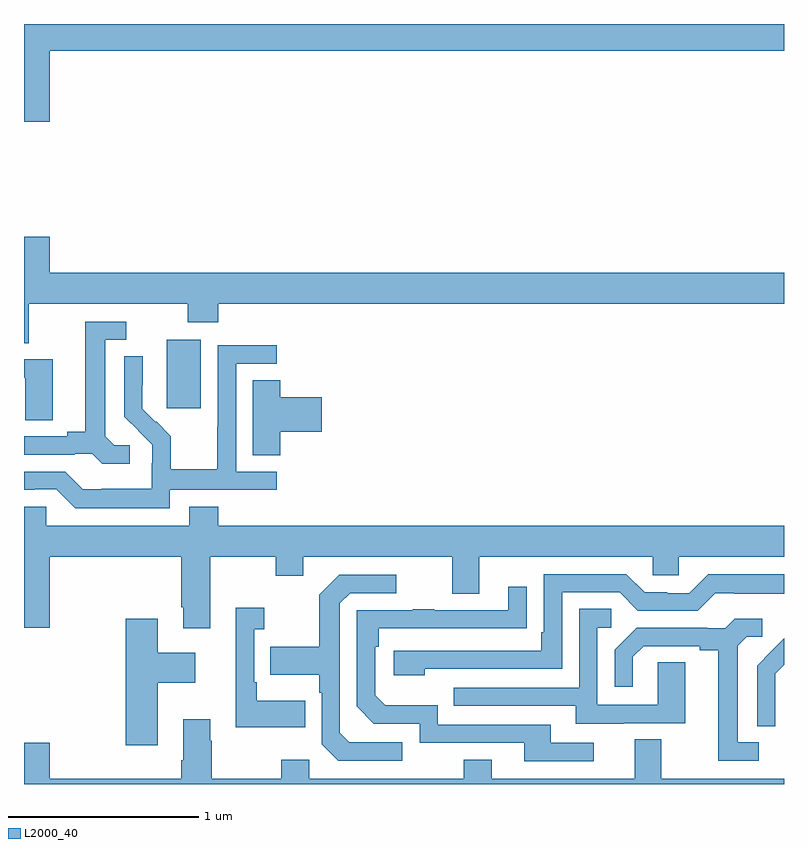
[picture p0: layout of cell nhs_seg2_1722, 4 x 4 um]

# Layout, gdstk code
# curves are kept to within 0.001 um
import gdstk
lib = gdstk.Library(unit=1e-6, precision=1e-09)
def R(c, l, rs):  # rectangles x0, y0, x1, y1
    for r in rs: c.add(gdstk.rectangle(r[:2], r[2:], *l))
def P(c, l, *ps):  # polygons
    for p in ps: c.add(gdstk.Polygon(p, *l))
L2000_40 = (2000, 40)

nhs_seg2_1722 = lib.new_cell('nhs_seg2_1722')
R(nhs_seg2_1722, L2000_40, [(201.752,621.777,201.931,622.138)])
P(nhs_seg2_1722, L2000_40, [(201.136,623.66),(205,623.66),(205,623.8),(201,623.8),(201,623.286),(201.136,623.286)],
  [(201.025,622.328),(201.862,622.328),(201.862,622.229),(202.022,622.229),(202.022,622.328),(205,622.328),(205,622.492),(201.136,622.492),(201.136,622.681),(201,622.681),(201,622.12),(201.025,622.12)],
  [(201.556,621.582),(201.474,621.582),(201.427,621.629),(201.427,622.137),(201.538,622.137),(201.538,622.233),(201.323,622.233),(201.323,621.653),(201.227,621.653),(201.227,621.63),(201,621.63),(201,621.534),(201.266,621.534),(201.266,621.537),(201.36,621.537),(201.412,621.485),(201.556,621.485)],
  [(201.768,621.348),(202.33,621.348),(202.33,621.444),(202.116,621.444),(202.116,622.011),(202.33,622.011),(202.33,622.11),(202.02,622.11),(202.02,621.68),(202.018,621.68),(202.018,621.457),(201.773,621.457),(201.773,621.631),(201.696,621.708),(201.693,621.705),(201.623,621.776),(201.624,622.052),(201.528,622.052),(201.528,621.734),(201.674,621.586),(201.674,621.489),(201.672,621.489),(201.672,621.355),(201.409,621.355),(201.409,621.351),(201.309,621.351),(201.216,621.444),(201,621.444),(201,621.348),(201.056,621.348),(201.056,621.351),(201.171,621.351),(201.271,621.251),(201.768,621.251)],
  [(201.151,622.035),(201,622.035),(201,621.939),(201.006,621.939),(201.006,621.715),(201.151,621.715)],
  [(202.349,621.653),(202.567,621.653),(202.567,621.836),(202.349,621.836),(202.349,621.926),(202.205,621.926),(202.205,621.529),(202.349,621.529)],
  [(201.979,620.996),(202.324,620.996),(202.324,620.897),(202.471,620.897),(202.471,620.996),(203.255,620.996),(203.255,620.802),(203.395,620.802),(203.395,620.996),(204.309,620.996),(204.309,620.898),(204.447,620.898),(204.447,620.996),(205,620.996),(205,621.16),(202.022,621.16),(202.022,621.259),(201.869,621.259),(201.869,621.16),(201.117,621.16),(201.117,621.258),(201,621.258),(201,620.622),(201.136,620.622),(201.136,620.996),(201.827,620.996),(201.827,620.731),(201.839,620.731),(201.839,620.619),(201.979,620.619)],
  [(203.108,620.406),(203.832,620.406),(203.832,620.808),(204.135,620.808),(204.231,620.712),(204.546,620.712),(204.639,620.805),(204.739,620.805),(204.739,620.801),(205,620.801),(205,620.905),(204.601,620.905),(204.501,620.805),(204.386,620.805),(204.386,620.808),(204.267,620.808),(204.171,620.904),(203.736,620.904),(203.736,620.599),(203.723,620.599),(203.723,620.502),(202.947,620.502),(202.947,620.372),(203.108,620.372)],
  [(202.99,620.019),(202.713,620.019),(202.662,620.07),(202.662,620.751),(202.716,620.805),(202.96,620.805),(202.96,620.901),(202.659,620.901),(202.554,620.795),(202.554,620.523),(202.297,620.523),(202.297,620.375),(202.554,620.375),(202.554,620.279),(202.566,620.279),(202.566,620.01),(202.653,619.923),(202.99,619.923)],
  [(203.998,620.016),(203.773,620.016),(203.773,620.112),(203.178,620.112),(203.178,620.215),(202.901,620.215),(202.848,620.268),(202.848,620.522),(202.868,620.522),(202.868,620.619),(203.645,620.62),(203.645,620.839),(203.549,620.839),(203.549,620.715),(203.159,620.715),(203.159,620.72),(203.047,620.72),(203.047,620.715),(202.752,620.715),(202.752,620.208),(202.842,620.118),(203.082,620.118),(203.082,620.016),(203.633,620.016),(203.633,619.92),(203.998,619.92)],
  [(202.481,620.239),(202.225,620.239),(202.225,620.335),(202.212,620.335),(202.212,620.615),(202.264,620.615),(202.264,620.728),(202.115,620.728),(202.115,620.099),(202.481,620.099)],
  [(204.157,620.121),(204.481,620.121),(204.481,620.441),(204.336,620.441),(204.336,620.217),(204.018,620.217),(204.018,620.622),(204.091,620.622),(204.091,620.723),(203.922,620.723),(203.922,620.307),(203.263,620.307),(203.263,620.211),(203.903,620.211),(203.903,620.117),(204.157,620.117)],
  [(204.868,620.019),(204.757,620.019),(204.757,620.527),(204.804,620.574),(204.886,620.574),(204.886,620.671),(204.742,620.671),(204.69,620.619),(204.596,620.619),(204.596,620.622),(204.224,620.622),(204.108,620.506),(204.108,620.313),(204.205,620.313),(204.205,620.469),(204.262,620.526),(204.557,620.526),(204.557,620.504),(204.653,620.504),(204.653,619.923),(204.868,619.923)],
  [(201.703,620.333),(201.901,620.333),(201.901,620.491),(201.703,620.491),(201.703,620.671),(201.536,620.671),(201.536,620.004),(201.703,620.004)],
  [(204.954,620.258),(204.953,620.258),(204.953,620.381),(205,620.428),(205,620.566),(204.93,620.496),(204.931,620.495),(204.858,620.422),(204.858,620.104),(204.954,620.104)],
  [(205,619.828),(204.355,619.828),(204.355,620.036),(204.215,620.036),(204.215,619.828),(203.461,619.828),(203.461,619.927),(203.314,619.927),(203.314,619.828),(202.5,619.828),(202.5,619.927),(202.354,619.927),(202.354,619.828),(201.987,619.828),(201.987,620.027),(201.979,620.027),(201.979,620.14),(201.839,620.14),(201.839,619.924),(201.827,619.924),(201.827,619.828),(201.136,619.828),(201.136,620.017),(201,620.017),(201,619.8),(205,619.8)])

lib.write_gds('nhs_seg2_1722.gds')
